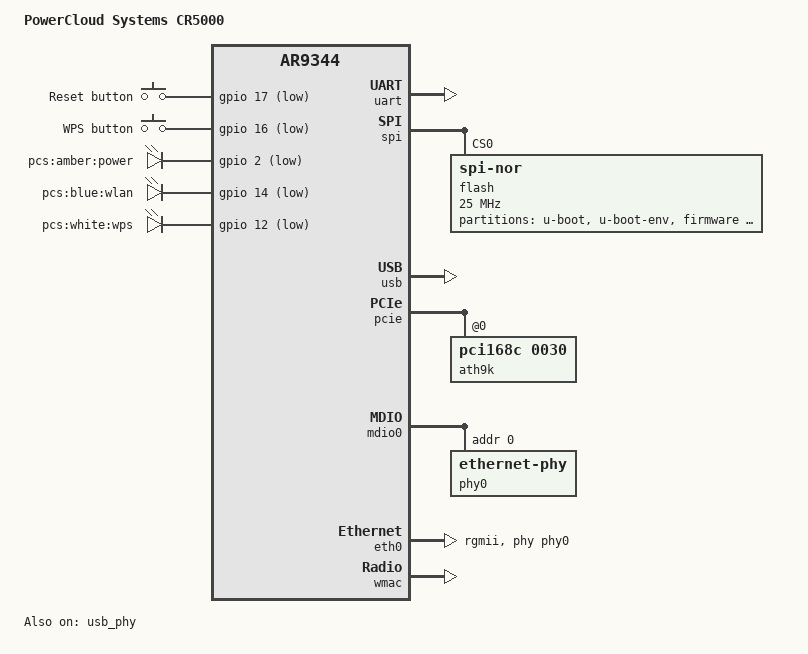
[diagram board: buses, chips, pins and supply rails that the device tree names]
// SPDX-License-Identifier: GPL-2.0-or-later OR MIT
/dts-v1/;

#include <dt-bindings/gpio/gpio.h>
#include <dt-bindings/input/input.h>

#include "ar9344.dtsi"

/ {
	model = "PowerCloud Systems CR5000";
	compatible = "pcs,cr5000", "qca,ar9344";

	aliases {
		serial0 = &uart;
		led-boot = &status;
		led-failsafe = &status;
		led-running = &status;
		led-upgrade = &status;
	};

	keys {
		compatible = "gpio-keys-polled";
		poll-interval = <20>;

		pinctrl-names = "default";
		pinctrl-0 = <&jtag_disable_pins>;

		reset {
			label = "Reset button";
			linux,code = <KEY_RESTART>;
			gpios = <&gpio 17 GPIO_ACTIVE_LOW>;
			debounce-interval = <60>;
		};

		wps {
			label = "WPS button";
			linux,code = <KEY_WPS_BUTTON>;
			gpios = <&gpio 16 GPIO_ACTIVE_LOW>;
			debounce-interval = <60>;
		};
	};

	leds {
		compatible = "gpio-leds";

		status: power {
			label = "pcs:amber:power";
			gpios = <&gpio 2 GPIO_ACTIVE_LOW>,
				<&gpio 4 GPIO_ACTIVE_LOW>;
			default-state = "on";
		};

		wlan2g {
			label = "pcs:blue:wlan";
			gpios = <&gpio 14 GPIO_ACTIVE_LOW>;
			linux,default-trigger = "phy0tpt";
		};

		wps_white {
			label = "pcs:white:wps";
			gpios = <&gpio 12 GPIO_ACTIVE_LOW>;
		};
	};
};

&ref {
	clock-frequency = <25000000>;
};

&uart {
	status = "okay";
};

&gpio {
	status = "okay";
};

&spi {
	num-cs = <1>;

	status = "okay";

	flash@0 {
		compatible = "jedec,spi-nor";
		reg = <0>;
		spi-max-frequency = <25000000>;

		partitions {
			compatible = "fixed-partitions";
			#address-cells = <1>;
			#size-cells = <1>;

			uboot: partition@0 {
				label = "u-boot";
				reg = <0x000000 0x040000>;
				read-only;
			};

			partition@40000 {
				label = "u-boot-env";
				reg = <0x040000 0x010000>;
				read-only;
			};

			partition@50000 {
				compatible = "denx,uimage";
				label = "firmware";
				reg = <0x050000 0x07a0000>;
			};

			art: partition@7f0000 {
				label = "art";
				reg = <0x7f0000 0x010000>;
				read-only;
			};
		};
	};
};

&usb {
	status = "okay";
	#address-cells = <1>;
	#size-cells = <0>;

	hub_port1: port@1 {
		reg = <1>;
		#trigger-source-cells = <0>;
	};
};

&usb_phy {
	status = "okay";
};

&pcie {
	status = "okay";

	ath9k: wifi@0,0 {
		compatible = "pci168c,0030";
		reg = <0x0000 0 0 0 0>;
		mtd-mac-address = <&art 0x5002>;
		#gpio-cells = <2>;
		gpio-controller;
	};
};

&mdio0 {
	status = "okay";

	phy-mask = <0>;

	phy0: ethernet-phy@0 {
		reg = <0>;
		phy-mode = "rgmii";
		qca,ar8327-initvals = <
			0x04 0x07600000 /* PORT0 PAD MODE CTRL */
			0x10 0x81000080 /* POWER_ON_STRAP */
			0x50 0xcc35cc35 /* LED_CTRL0 */
			0x54 0xca35ca35 /* LED_CTRL1 */
			0x58 0xc935c935 /* LED_CTRL2 */
			0x5c 0x03ffff00 /* LED_CTRL3 */
			0x7c 0x0000007e /* PORT0_STATUS */
		>;
	};
};

&eth0 {
	#address-cells = <1>;
	#size-cells = <0>;
	status = "okay";

	/* default for ar934x, except for 1000M */
	pll-data = <0x06000000 0x00000101 0x00001616>;

	mtd-mac-address = <&art 0x0>;

	phy-mode = "rgmii";
	phy-handle = <&phy0>;


	aliases {
		ag0 = &eth1;
	};

	port@0 {
		compatible = "swconfig,port";
		reg = <0>;
		swconfig,segment = "lan";
		swconfig,portmap = <1 1>;
	};

	port@1 {
		compatible = "swconfig,port";
		reg = <1>;
		swconfig,segment = "lan";
		swconfig,portmap = <2 2>;
	};

	port@2 {
		compatible = "swconfig,port";
		reg = <2>;
		swconfig,segment = "lan";
		swconfig,portmap = <3 3>;
	};

	port@3 {
		compatible = "swconfig,port";
		reg = <3>;
		swconfig,segment = "lan";
		swconfig,portmap = <4 4>;
	};

	port@4 {
		compatible = "swconfig,port";
		reg = <4>;
		swconfig,segment = "wan";
		swconfig,portmap = <5 5>;
	};
};

&wmac {
	status = "okay";

	mtd-cal-data = <&art 0x1000>;
	mtd-mac-address = <&art 0x1002>;
};
